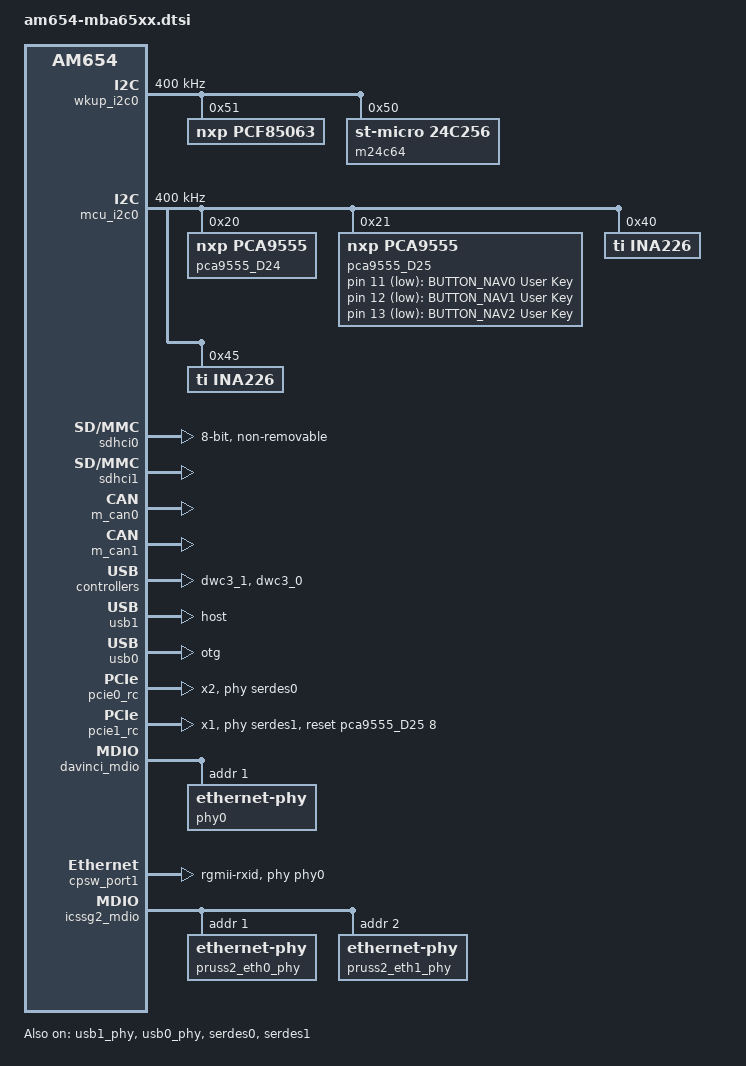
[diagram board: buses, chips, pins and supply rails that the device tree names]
// SPDX-License-Identifier: GPL-2.0
/*
 * Copyright (C) 2016-2018 Texas Instruments Incorporated - http://www.ti.com/
 * Copyright (C) 2020 TQ Systems
 */

/dts-v1/;
#include <dt-bindings/input/input.h>
#include <dt-bindings/net/ti-dp83867.h>
#include <dt-bindings/gpio/gpio.h>
#include <dt-bindings/phy/phy.h>
#include <dt-bindings/phy/phy-am654-serdes.h>
#include <dt-bindings/pinctrl/k3.h>
#include "am654-tqma65xx.dtsi"

/ {
	aliases {
		ethernet5 = &pruss2_emac0;
		ethernet6 = &pruss2_emac1;
	};

	chosen {
		stdout-path = "serial2:115200n8";
		bootargs = "earlycon=ns16550a,mmio32,0x02800000";
	};

	gpio-keys {
		compatible = "gpio-keys";
		autorepeat;
		pinctrl-names = "default";
		pinctrl-0 = <&push_button_pins_default>;

		BUTTON_NAV0 {
			label = "BUTTON_NAV0 User Key";
			linux,code = <BTN_0>;
			gpios = <&pca9555_D25 11 GPIO_ACTIVE_LOW>;
		};
		BUTTON_NAV1 {
			label = "BUTTON_NAV1 User Key";
			linux,code = <BTN_1>;
			gpios = <&pca9555_D25 12 GPIO_ACTIVE_LOW>;
		};
		BUTTON_NAV2 {
			label = "BUTTON_NAV2 User Key";
			linux,code = <BTN_2>;
			gpios = <&pca9555_D25 13 GPIO_ACTIVE_LOW>;
		};
	};

	clk_ov5640_fixed: fixed-clock-ov5640 {
		compatible = "fixed-clock";
		#clock-cells = <0>;
		clock-frequency = <24000000>;
	};

	/* Dual Ethernet application node on PRU-ICSSG2 */
	pruss2_eth: pruss2_eth {
		compatible = "ti,am654-icssg-prueth";
		pinctrl-names = "default";
		pinctrl-0 = <&icssg2_rgmii_pins_default>;
		sram = <&msmc_ram>;
		prus = <&pru2_0>, <&rtu2_0>, <&tx_pru2_0>,
			<&pru2_1>, <&rtu2_1>, <&tx_pru2_1>;
		firmware-name = "ti-pruss/am65x-sr2-pru0-prueth-fw.elf",
				"ti-pruss/am65x-sr2-rtu0-prueth-fw.elf",
				"ti-pruss/am65x-sr2-txpru0-prueth-fw.elf",
				"ti-pruss/am65x-sr2-pru1-prueth-fw.elf",
				"ti-pruss/am65x-sr2-rtu1-prueth-fw.elf",
				"ti-pruss/am65x-sr2-txpru1-prueth-fw.elf";

		ti,pruss-gp-mux-sel = <2>,      /* MII mode */
				      <2>,
				      <2>,
				      <2>,	/* MII mode */
				      <2>,
				      <2>;
		mii-g-rt = <&icssg2_mii_g_rt>;
		mii-rt = <&icssg2_mii_rt>;
		dma-coherent;
		dmas = <&main_udmap 0xc300>, /* egress slice 0 */
		       <&main_udmap 0xc301>, /* egress slice 0 */
		       <&main_udmap 0xc302>, /* egress slice 0 */
		       <&main_udmap 0xc303>, /* egress slice 0 */
		       <&main_udmap 0xc304>, /* egress slice 1 */
		       <&main_udmap 0xc305>, /* egress slice 1 */
		       <&main_udmap 0xc306>, /* egress slice 1 */
		       <&main_udmap 0xc307>, /* egress slice 1 */

		       <&main_udmap 0x4300>, /* ingress slice 0 */
		       <&main_udmap 0x4301>, /* ingress slice 1 */
		       <&main_udmap 0x4302>, /* mgmnt rsp slice 0 */
		       <&main_udmap 0x4303>; /* mgmnt rsp slice 1 */
		dma-names = "tx0-0", "tx0-1", "tx0-2", "tx0-3",
			    "tx1-0", "tx1-1", "tx1-2", "tx1-3",
			    "rx0", "rx1",
			    "rxmgm0", "rxmgm1";

		pruss2_emac0: ethernet-mii0 {
			phy-handle = <&pruss2_eth0_phy>;
			phy-mode = "rgmii-rxid";
			interrupts-extended = <&icssg2_intc 24>;
			syscon-rgmii-delay = <&scm_conf 0x4120>;
			iep = <&icssg2_iep0>;
			/* Filled in by bootloader */
			local-mac-address = [00 00 00 00 00 00];
		};

		pruss2_emac1: ethernet-mii1 {
			phy-handle = <&pruss2_eth1_phy>;
			phy-mode = "rgmii-rxid";
			interrupts-extended = <&icssg2_intc 25>;
			syscon-rgmii-delay = <&scm_conf 0x4124>;
			/* Filled in by bootloader */
			local-mac-address = [00 00 00 00 00 00];
		};
	};
};

&wkup_pmx0 {

	mcu_mcan0_pins_default: mcu_mcan0_pins_default {
		pinctrl-single,pins = <
			AM65X_WKUP_IOPAD(0x00ac, PIN_INPUT, 0) /* (W2) MCU_MCAN0_RX */
			AM65X_WKUP_IOPAD(0x00a8, PIN_OUTPUT, 0) /* (W1) MCU_MCAN0_TX */
		>;
	};

	mcu_mcan1_pins_default: mcu_mcan1_pins_default {
		pinctrl-single,pins = <
			AM65X_WKUP_IOPAD(0x00c4, PIN_INPUT, 1) /* (AD3) WKUP_GPIO0_5.MCU_MCAN1_RX */
			AM65X_WKUP_IOPAD(0x00c0, PIN_OUTPUT, 1) /* (AC3) WKUP_GPIO0_4.MCU_MCAN1_TX */
		>;
	};

	wkup_i2c0_pins_default: wkup-i2c0-pins-default {
		pinctrl-single,pins = <
			AM65X_WKUP_IOPAD(0x00e0, PIN_INPUT, 0) /* (AC7) WKUP_I2C0_SCL */
			AM65X_WKUP_IOPAD(0x00e4, PIN_INPUT, 0) /* (AD6) WKUP_I2C0_SDA */
		>;
	};

	push_button_pins_default: push_button__pins_default {
		pinctrl-single,pins = <
		AM65X_WKUP_IOPAD(0x0218, PIN_INPUT, 7) /* (V26) PRG0_PRU0_GPO9.GPIO1_38 */
		>;
	};

	mcu_i2c_pins_default: mcu-i2c-pins-default {
		pinctrl-single,pins = <
			AM65X_WKUP_IOPAD(0x00e8, PIN_INPUT, 0) /* (AD8) MCU_I2C0_SCL */
			AM65X_WKUP_IOPAD(0x00ec, PIN_INPUT, 0) /* (AD7) MCU_I2C0_SDA */
		>;
	};

	mcu_cpsw_pins_default: mcu_cpsw_pins_default {
		pinctrl-single,pins = <
			AM65X_WKUP_IOPAD(0x0058, PIN_OUTPUT, 0) /* (N4) MCU_RGMII1_TX_CTL */
			AM65X_WKUP_IOPAD(0x005c, PIN_INPUT, 0) /* (N5) MCU_RGMII1_RX_CTL */
			AM65X_WKUP_IOPAD(0x0060, PIN_OUTPUT, 0) /* (M2) MCU_RGMII1_TD3 */
			AM65X_WKUP_IOPAD(0x0064, PIN_OUTPUT, 0) /* (M3) MCU_RGMII1_TD2 */
			AM65X_WKUP_IOPAD(0x0068, PIN_OUTPUT, 0) /* (M4) MCU_RGMII1_TD1 */
			AM65X_WKUP_IOPAD(0x006c, PIN_OUTPUT, 0) /* (M5) MCU_RGMII1_TD0 */
			AM65X_WKUP_IOPAD(0x0078, PIN_INPUT, 0) /* (L2) MCU_RGMII1_RD3 */
			AM65X_WKUP_IOPAD(0x007c, PIN_INPUT, 0) /* (L5) MCU_RGMII1_RD2 */
			AM65X_WKUP_IOPAD(0x0080, PIN_INPUT, 0) /* (M6) MCU_RGMII1_RD1 */
			AM65X_WKUP_IOPAD(0x0084, PIN_INPUT, 0) /* (L6) MCU_RGMII1_RD0 */
			AM65X_WKUP_IOPAD(0x0070, PIN_INPUT, 0) /* (N1) MCU_RGMII1_TXC */
			AM65X_WKUP_IOPAD(0x0074, PIN_INPUT, 0) /* (M1) MCU_RGMII1_RXC */
		>;
	};

	mcu_mdio_pins_default: mcu_mdio1_pins_default {
		pinctrl-single,pins = <
			AM65X_WKUP_IOPAD(0x008c, PIN_OUTPUT, 0) /* (L1) MCU_MDIO0_MDC */
			AM65X_WKUP_IOPAD(0x0088, PIN_INPUT, 0) /* (L4) MCU_MDIO0_MDIO */
		>;
	};
};

&main_pmx0 {
	main_uart0_pins_default: main-uart0-pins-default {
		pinctrl-single,pins = <
			AM65X_IOPAD(0x01e4, PIN_INPUT, 0)	/* (AF11) UART0_RXD */
			AM65X_IOPAD(0x01e8, PIN_OUTPUT, 0)	/* (AE11) UART0_TXD */
			AM65X_IOPAD(0x01ec, PIN_INPUT, 0)	/* (AG11) UART0_CTSn */
			AM65X_IOPAD(0x01f0, PIN_OUTPUT, 0)	/* (AD11) UART0_RTSn */
		>;
	};

	// main_i2c2_pins_default: main-i2c2-pins-default {
	// 	pinctrl-single,pins = <
	// 		AM65X_IOPAD(0x0074, PIN_INPUT, 5) /* (T27) GPMC0_CSn3.I2C2_SCL */
	// 		AM65X_IOPAD(0x0070, PIN_INPUT, 5) /* (R25) GPMC0_CSn2.I2C2_SDA */
	// 	>;
	// };

	emmc_pins_default: emmc-pins-default {
		pinctrl-single,pins = <
			AM65X_IOPAD(0x01a8, PIN_INPUT_PULLDOWN, 0) /* (B25) MMC0_CLK */
			AM65X_IOPAD(0x01ac, PIN_INPUT_PULLUP, 0) /* (B27) MMC0_CMD */
			AM65X_IOPAD(0x01a4, PIN_INPUT_PULLUP, 0) /* (A26) MMC0_DAT0 */
			AM65X_IOPAD(0x01a0, PIN_INPUT_PULLUP, 0) /* (E25) MMC0_DAT1 */
			AM65X_IOPAD(0x019c, PIN_INPUT_PULLUP, 0) /* (C26) MMC0_DAT2 */
			AM65X_IOPAD(0x0198, PIN_INPUT_PULLUP, 0) /* (A25) MMC0_DAT3 */
			AM65X_IOPAD(0x0194, PIN_INPUT_PULLUP, 0) /* (E24) MMC0_DAT4 */
			AM65X_IOPAD(0x0190, PIN_INPUT_PULLUP, 0) /* (A24) MMC0_DAT5 */
			AM65X_IOPAD(0x018c, PIN_INPUT_PULLUP, 0) /* (B26) MMC0_DAT6 */
			AM65X_IOPAD(0x0188, PIN_INPUT_PULLUP, 0) /* (D25) MMC0_DAT7 */
			AM65X_IOPAD(0x01b4, PIN_INPUT_PULLDOWN, 0) /* (A23) MMC0_SDCD */
			AM65X_IOPAD(0x01b0, PIN_INPUT, 0) /* (C25) MMC0_DS */
		>;
	};

	main_mmc1_pins_default: main_mmc1_pins_default {
		pinctrl-single,pins = <
			AM65X_IOPAD(0x02d4, PIN_INPUT_PULLDOWN, 0) /* (C27) MMC1_CLK */
			AM65X_IOPAD(0x02d8, PIN_INPUT_PULLUP, 0) /* (C28) MMC1_CMD */
			AM65X_IOPAD(0x02d0, PIN_INPUT_PULLUP, 0) /* (D28) MMC1_DAT0 */
			AM65X_IOPAD(0x02cc, PIN_INPUT_PULLUP, 0) /* (E27) MMC1_DAT1 */
			AM65X_IOPAD(0x02c8, PIN_INPUT_PULLUP, 0) /* (D26) MMC1_DAT2 */
			AM65X_IOPAD(0x02c4, PIN_INPUT_PULLUP, 0) /* (D27) MMC1_DAT3 */
			AM65X_IOPAD(0x02dc, PIN_INPUT_PULLUP, 0) /* (B24) MMC1_SDCD */
			AM65X_IOPAD(0x02e0, PIN_INPUT, 0) /* (C24) MMC1_SDWP */
		>;
	};

	usb1_pins_default: usb1_pins_default {
		pinctrl-single,pins = <
			AM65X_IOPAD(0x02c0, PIN_OUTPUT, 0) /* (AC8) USB1_DRVVBUS */
		>;
	};

	usb0_pins_default: usb0_pins_default {
		pinctrl-single,pins = <
			AM65X_IOPAD(0x02bc, PIN_OUTPUT, 0) /* (AD9) USB0_DRVVBUS */
		>;
	};

	icssg2_mdio_pins_default: icssg2_mdio_pins_default {
		pinctrl-single,pins = <
			AM65X_IOPAD(0x0094, PIN_INPUT, 2) /* (AC19) PRG2_PRU0_GPO7.PRG2_MDIO0_MDIO */
			AM65X_IOPAD(0x00c8, PIN_OUTPUT, 2) /* (AE15) PRG2_PRU1_GPO7.PRG2_MDIO0_MDC */
		>;
	};

	icssg2_rgmii_pins_default: icssg2_rgmii_pins_default {
		pinctrl-single,pins = <
			AM65X_IOPAD(0x00ac, PIN_INPUT, 2) /* (AH15) PRG2_PRU1_GPO0.PRG2_RGMII2_RD0 */
			AM65X_IOPAD(0x00b0, PIN_INPUT, 2) /* (AC16) PRG2_PRU1_GPO1.PRG2_RGMII2_RD1 */
			AM65X_IOPAD(0x00b4, PIN_INPUT, 2) /* (AD17) PRG2_PRU1_GPO2.PRG2_RGMII2_RD2 */
			AM65X_IOPAD(0x00b8, PIN_INPUT, 2) /* (AH14) PRG2_PRU1_GPO3.PRG2_RGMII2_RD3 */
			AM65X_IOPAD(0x00cc, PIN_OUTPUT, 2) /* (AD15) PRG2_PRU1_GPO8.PRG2_RGMII2_TD0 */
			AM65X_IOPAD(0x00d0, PIN_OUTPUT, 2) /* (AF14) PRG2_PRU1_GPO9.PRG2_RGMII2_TD1 */
			AM65X_IOPAD(0x00d4, PIN_OUTPUT, 2) /* (AC15) PRG2_PRU1_GPO10.PRG2_RGMII2_TD2 */
			AM65X_IOPAD(0x00d8, PIN_OUTPUT, 2) /* (AD14) PRG2_PRU1_GPO11.PRG2_RGMII2_TD3 */
			AM65X_IOPAD(0x00dc, PIN_INPUT, 2) /* (AE14) PRG2_PRU1_GPO16.PRG2_RGMII2_TXC */
			AM65X_IOPAD(0x00c4, PIN_OUTPUT, 2) /* (AC17) PRG2_PRU1_GPO6.PRG2_RGMII2_TX_CTL */
			AM65X_IOPAD(0x00c0, PIN_INPUT, 2) /* (AG15) PRG2_PRU1_GPO5.PRG2_RGMII2_RXC */
			AM65X_IOPAD(0x00bc, PIN_INPUT, 2) /* (AG14) PRG2_PRU1_GPO4.PRG2_RGMII2_RX_CTL */

			AM65X_IOPAD(0x0078, PIN_INPUT, 2) /* (AF18) PRG2_PRU0_GPO0.PRG2_RGMII1_RD0 */
			AM65X_IOPAD(0x007c, PIN_INPUT, 2) /* (AE18) PRG2_PRU0_GPO1.PRG2_RGMII1_RD1 */
			AM65X_IOPAD(0x0080, PIN_INPUT, 2) /* (AH17) PRG2_PRU0_GPO2.PRG2_RGMII1_RD2 */
			AM65X_IOPAD(0x0084, PIN_INPUT, 2) /* (AG18) PRG2_PRU0_GPO3.PRG2_RGMII1_RD3 */
			AM65X_IOPAD(0x0098, PIN_OUTPUT, 2) /* (AH16) PRG2_PRU0_GPO8.PRG2_RGMII1_TD0 */
			AM65X_IOPAD(0x009c, PIN_OUTPUT, 2) /* (AG16) PRG2_PRU0_GPO9.PRG2_RGMII1_TD1 */
			AM65X_IOPAD(0x00a0, PIN_OUTPUT, 2) /* (AF16) PRG2_PRU0_GPO10.PRG2_RGMII1_TD2 */
			AM65X_IOPAD(0x00a4, PIN_OUTPUT, 2) /* (AE16) PRG2_PRU0_GPO11.PRG2_RGMII1_TD3 */
			AM65X_IOPAD(0x00a8, PIN_INPUT, 2) /* (AD16) PRG2_PRU0_GPO16.PRG2_RGMII1_TXC */
			AM65X_IOPAD(0x0090, PIN_OUTPUT, 2) /* (AE17) PRG2_PRU0_GPO6.PRG2_RGMII1_TX_CTL */
			AM65X_IOPAD(0x008c, PIN_INPUT, 2) /* (AF17) PRG2_PRU0_GPO5.PRG2_RGMII1_RXC */
			AM65X_IOPAD(0x0088, PIN_INPUT, 2) /* (AG17) PRG2_PRU0_GPO4.PRG2_RGMII1_RX_CTL */
		>;
	};
};

&main_pmx1 {
	// main_i2c0_pins_default: main-i2c0-pins-default {
	// 	pinctrl-single,pins = <
	// 		AM65X_IOPAD(0x0000, PIN_INPUT, 0) /* (D20) I2C0_SCL */
	// 		AM65X_IOPAD(0x0004, PIN_INPUT, 0) /* (C21) I2C0_SDA */
	// 	>;
	// };

	// main_i2c1_pins_default: main-i2c1-pins-default {
	// 	pinctrl-single,pins = <
	// 		AM65X_IOPAD(0x0008, PIN_INPUT, 0) /* (B21) I2C1_SCL */
	// 		AM65X_IOPAD(0x000c, PIN_INPUT, 0) /* (E21) I2C1_SDA */
	// 	>;
	// };

	ecap0_pins_default: ecap0-pins-default {
		pinctrl-single,pins = <
			AM65X_IOPAD(0x0010, PIN_INPUT, 0) /* (D21) ECAP0_IN_APWM_OUT */
		>;
	};
};

&wkup_uart0 {
	/* Wakeup UART is used by System firmware */
	status = "disabled";
};

&main_uart0 {
	pinctrl-names = "default";
	pinctrl-0 = <&main_uart0_pins_default>;
	power-domains = <&k3_pds 146 TI_SCI_PD_SHARED>;
};

&wkup_i2c0 {
	pinctrl-names = "default";
	pinctrl-0 = <&wkup_i2c0_pins_default>;
	clock-frequency = <400000>;


	pcf85063: rtc@51 {
		compatible = "nxp,pcf85063";
		reg = <0x51>;
	};

	m24c64: eeprom@50 {
		compatible = "st-micro,24c256";
		reg  = <0x50>;
    };

	// pca9554: gpio@39 {
	// 	compatible = "nxp,pca9554";
	// 	reg = <0x39>;
	// 	gpio-controller;
	// 	#gpio-cells = <2>;
	// 	pinctrl-names = "default";
	// 	pinctrl-0 = <&wkup_pca554_default>;
	// 	interrupt-parent = <&wkup_gpio0>;
	// 	interrupts = <25 IRQ_TYPE_EDGE_FALLING>;
	// 	interrupt-controller;
	// 	#interrupt-cells = <2>;
	// };
};

&mcu_i2c0 {
	pinctrl-names = "default";
	pinctrl-0 = <&mcu_i2c_pins_default>;
	clock-frequency = <400000>;

	pca9555_D24: gpio@20 {
		compatible = "nxp,pca9555";
		reg = <0x20>;
		gpio-controller;
		#gpio-cells = <2>;
	};

	pca9555_D25: gpio@21 {
		compatible = "nxp,pca9555";
		reg = <0x21>;
		gpio-controller;
		#gpio-cells = <2>;
	};

	ina226@40 {
		compatible = "ti,ina226";
		reg = <0x40>;
		shunt-resistor = <3>;
	};

	ina226@45 {
		compatible = "ti,ina226";
		reg = <0x45>;
		shunt-resistor = <3>;
	};
};


&pca9555_D24 {
	p0 {
		/* P0 - PRG0_RGMII_RST#_AUDIO_RST# */
		gpio-hog;
		gpios = <0x00 GPIO_ACTIVE_HIGH>;
		output-high;
		line-name = "PRG0_RGMII_RST#_AUDIO_RST#";
	};
	p2 {
		/* P2 - GPIOEXP0_IO0_3_PRG0_ETH_EN# */
		gpio-hog;
		gpios = <0x02 GPIO_ACTIVE_HIGH>;
		output-high;
		line-name = "GPIOEXP0_IO0_3_PRG0_ETH_EN#";
	};
	p3 {
		/* P3 - PRG1_RGMII_RST# */
		gpio-hog;
		gpios = <0x03 GPIO_ACTIVE_HIGH>;
		output-high;
		line-name = "PRG1_RGMII_RST#";
	};
	p5 {
		/* P5 - PRG1_ETH_EN# */
		gpio-hog;
		gpios = <0x05 GPIO_ACTIVE_HIGH>;
		output-high;
		line-name = "PRG1_ETH_EN#";
	};
	p7 {
		/* P7 - PRG2_RGMII_RST# */
		gpio-hog;
		gpios = <0x07 GPIO_ACTIVE_HIGH>;
		output-high;
		line-name = "PRG2_RGMII_RST#";
	};
	p9 {
		/* P9 - MCU_RGMII0_RST# */
		gpio-hog;
		gpios = <0x09 GPIO_ACTIVE_HIGH>;
		output-high;
		line-name = "MCU_RGMII0_RST#";
	};
};

&pca9555_D25 {
	p0 {
		/* P0 - MPCIE_1V5_EN*/
		gpio-hog;
		gpios = <0x00 GPIO_ACTIVE_HIGH>;
		output-high;
		line-name = "MPCIE_1V5_EN";
	};
	p1 {
		/* P1 - DISPLAY_3V3_EN*/
		gpio-hog;
		gpios = <0x01 GPIO_ACTIVE_HIGH>;
		output-high;
		line-name = "DISPLAY_3V3_EN";
	};
	p3 {
		/* P3 - LCD_PWR_EN*/
		gpio-hog;
		gpios = <0x03 GPIO_ACTIVE_HIGH>;
		output-high;
		line-name = "LCD_PWR_EN";
	};
	p4 {
		/* P4 - LCD_BLT_EN*/
		gpio-hog;
		gpios = <0x04 GPIO_ACTIVE_HIGH>;
		output-high;
		line-name = "LCD_BLT_EN";
	};
	p5 {
		/* P5 - DISPLAY_RST#*/
		gpio-hog;
		gpios = <0x05 GPIO_ACTIVE_HIGH>;
		output-high;
		line-name = "DISPLAY_RST#";
	};
	p6 {
		/* P6 - USB_HUB_RST# */
		gpio-hog;
		gpios = <0x06 GPIO_ACTIVE_HIGH>;
		output-high;
		line-name = "USB_HUB_RST#";
	};
	p7 {
		/* P7 - CLK_PDN# */
		gpio-hog;
		gpios = <0x07 GPIO_ACTIVE_HIGH>;
		output-high;
		line-name = "CLK_PDN#";
	};

	p9 {
		/* P9 - MPCIE_DIS#*/
		gpio-hog;
		gpios = <0x09 GPIO_ACTIVE_HIGH>;
		output-high;
		line-name = "MPCIE_DIS#";
	};
};


// &main_i2c1 {
// 	pinctrl-names = "default";
// 	pinctrl-0 = <&main_i2c1_pins_default>;
// 	clock-frequency = <400000>;

// 	ov5640@3c {
// 		compatible = "ovti,ov5640";
// 		reg = <0x3c>;

// 		clocks = <&clk_ov5640_fixed>;
// 		clock-names = "xclk";

// 		port {
// 			csi2_cam0: endpoint {
// 				remote-endpoint = <&csi2_phy0>;
// 				clock-lanes = <0>;
// 				data-lanes = <1 2>;
// 			};
// 		};
// 	};

// };

// &main_i2c2 {
// 	pinctrl-names = "default";
// 	pinctrl-0 = <&main_i2c2_pins_default>;
// 	clock-frequency = <400000>;
// };

&ecap0 {
	pinctrl-names = "default";
	pinctrl-0 = <&ecap0_pins_default>;
};

&main_spi0 {
	status = "disabled";
};

&sdhci0 {
	broken-cd;
	pinctrl-names = "default";
	pinctrl-0 = <&emmc_pins_default>;
	bus-width = <8>;
	non-removable;
	ti,driver-strength-ohm = <50>;
	disable-wp;
    status = "okay";
};

&sdhci1 {
	status = "okay";
	pinctrl-names = "default";
	pinctrl-0 = <&main_mmc1_pins_default>;
	sdhci-caps-mask = <0x7 0x0>;
	ti,driver-strength-ohm = <50>;
	disable-wp;
};

&m_can0 {
	status = "okay";
	pinctrl-names = "default";
	pinctrl-0 = <&mcu_mcan0_pins_default>;
	can-transceiver {
		max-bitrate = <5000000>;
	};
};

&m_can1 {
	status = "okay";
	pinctrl-names = "default";
	pinctrl-0 = <&mcu_mcan1_pins_default>;
	can-transceiver {
		max-bitrate = <5000000>;
	};
};

&dwc3_1 {
	status = "okay";
};

&usb1_phy {
	status = "okay";
};

&usb1 {
	pinctrl-names = "default";
	pinctrl-0 = <&usb1_pins_default>;
	dr_mode = "host";
	status = "okay";
};

&dwc3_0 {
	status = "okay";
};

&usb0_phy {
	status = "okay";
};

&usb0 {
	pinctrl-names = "default";
	pinctrl-0 = <&usb0_pins_default>;
	dr_mode = "otg";
	status = "okay";
};

&tscadc0 {
	adc {
		ti,adc-channels = <0 1 2 3 4 5 6 7>;
	};
};

&tscadc1 {
	adc {
		ti,adc-channels = <0 1 2 3 4 5 6 7>;
	};
};

&serdes0 {
	assigned-clocks = <&k3_clks 153 4>, <&serdes0 AM654_SERDES_CMU_REFCLK>, <&serdes0 AM654_SERDES_RO_REFCLK>;
	assigned-clock-parents = <&k3_clks 153 8>, <&k3_clks 153 4>, <&k3_clks 153 4>;
	status = "okay";
};

&serdes1 {
	status = "okay";
};

&pcie0_rc {
	num-lanes = <2>;
	phys = <&serdes0 PHY_TYPE_PCIE 1>, <&serdes1 PHY_TYPE_PCIE 1>;
	phy-names = "pcie-phy0", "pcie-phy1";
	status = "okay";
};

&pcie0_ep {
	num-lanes = <2>;
	phys = <&serdes0 PHY_TYPE_PCIE 1>, <&serdes1 PHY_TYPE_PCIE 1>;
	phy-names = "pcie-phy0", "pcie-phy1";
};

&pcie1_rc {
	num-lanes = <1>;
	phys = <&serdes1 PHY_TYPE_PCIE 0>;
	phy-names = "pcie-phy0";
	reset-gpios = <&pca9555_D25 8 GPIO_ACTIVE_HIGH>;
	status = "okay";
};

&pcie1_ep {
	num-lanes = <1>;
	phys = <&serdes1 PHY_TYPE_PCIE 0>;
	phy-names = "pcie-phy0";
};

&mailbox0_cluster0 {
	interrupts = <436>;

	mbox_mcu_r5fss0_core0: mbox-mcu-r5fss0-core0 {
		ti,mbox-tx = <1 0 0>;
		ti,mbox-rx = <0 0 0>;
	};
};

&mailbox0_cluster1 {
	interrupts = <432>;

	mbox_mcu_r5fss0_core1: mbox-mcu-r5fss0-core1 {
		ti,mbox-tx = <1 0 0>;
		ti,mbox-rx = <0 0 0>;
	};
};

&mailbox0_cluster2 {
	status = "disabled";
};

&mailbox0_cluster3 {
	status = "disabled";
};

&mailbox0_cluster4 {
	status = "disabled";
};

&mailbox0_cluster5 {
	status = "disabled";
};

&mailbox0_cluster6 {
	status = "disabled";
};

&mailbox0_cluster7 {
	status = "disabled";
};

&mailbox0_cluster8 {
	status = "disabled";
};

&mailbox0_cluster9 {
	status = "disabled";
};

&mailbox0_cluster10 {
	status = "disabled";
};

&mailbox0_cluster11 {
	status = "disabled";
};

&mcu_r5fss0_core0 {
	memory-region = <&mcu_r5fss0_core0_dma_memory_region>,
			<&mcu_r5fss0_core0_memory_region>;
	mboxes = <&mailbox0_cluster0 &mbox_mcu_r5fss0_core0>;
};

&mcu_r5fss0_core1 {
	memory-region = <&mcu_r5fss0_core1_dma_memory_region>,
			<&mcu_r5fss0_core1_memory_region>;
	mboxes = <&mailbox0_cluster1 &mbox_mcu_r5fss0_core1>;
};

// &csi2_0 {
// 	csi2_phy0: endpoint {
// 		remote-endpoint = <&csi2_cam0>;
// 		clock-lanes = <0>;
// 		data-lanes = <1 2>;
// 	};
// };


&mcu_cpsw {
	pinctrl-names = "default";
	pinctrl-0 = <&mcu_cpsw_pins_default &mcu_mdio_pins_default>;

	cpts {
		ti,pps = <3 1>;
	};
};

&davinci_mdio {
	phy0: ethernet-phy@0 {
		reg = <1>;
		/* TODO: phy reset: TCA9555RTWR(i2c:0x21)[p04].GPIO_MCU_RGMII_RSTN */
		ti,rx-internal-delay = <DP83867_RGMIIDCTL_2_00_NS>;
		ti,tx-internal-delay = <DP83867_RGMIIDCTL_2_00_NS>;
		ti,fifo-depth = <DP83867_PHYCR_FIFO_DEPTH_4_B_NIB>;
	};
};

&cpsw_port1 {
	phy-mode = "rgmii-rxid";
	phy-handle = <&phy0>;
};

#define TS_OFFSET(pa, val)     (0x4+(pa)*4) (0x80000000 | val)

&timesync_router {
	pinctrl-names = "default";
	pinctrl-0 = <&mcu_cpts>;

	/* Example of the timesync routing */
	mcu_cpts: mcu_cpts {
		pinctrl-single,pins = <
			/* pps [cpts genf1] in13 -> out25 [cpts hw4_push] */
			TS_OFFSET(25, 13)
		>;
	};
};

&icssg2_mdio {
	status = "okay";
	pinctrl-names = "default";
	pinctrl-0 = <&icssg2_mdio_pins_default>;

	pruss2_eth0_phy: ethernet-phy@1 {
		reg = <1>;
		ti,rx-internal-delay = <DP83867_RGMIIDCTL_2_00_NS>;
		ti,fifo-depth = <DP83867_PHYCR_FIFO_DEPTH_4_B_NIB>;
	};

	pruss2_eth1_phy: ethernet-phy@2 {
		reg = <2>;
		ti,rx-internal-delay = <DP83867_RGMIIDCTL_2_00_NS>;
		ti,fifo-depth = <DP83867_PHYCR_FIFO_DEPTH_4_B_NIB>;
	};
};
